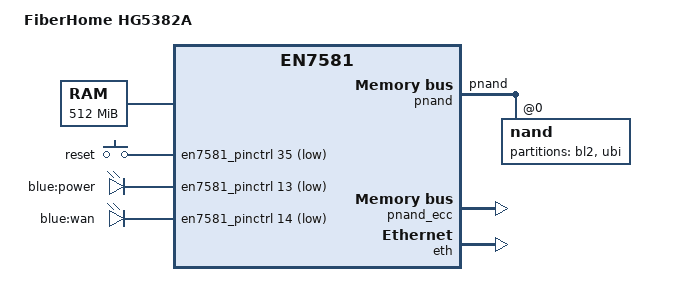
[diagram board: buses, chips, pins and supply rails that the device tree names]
// SPDX-License-Identifier: (GPL-2.0-only OR BSD-2-Clause)
/dts-v1/;

/* BL2 and TF-A reserve the first 2 MiB of DRAM. */
/memreserve/ 0x80000000 0x200000;

#include <dt-bindings/gpio/gpio.h>
#include <dt-bindings/input/input.h>
#include "en7581.dtsi"

/*
 * FiberHome HG5382A: AN7581 on parallel NAND, not SPI NAND.  The SNFI node
 * (spi@1fa10000) stays disabled as en7581.dtsi ships it -- its second reg
 * window is the same NFI block at 0x1fa11000, and a probed SNFI would switch
 * the NFI to serial mode under the parallel driver.
 */

/ {
	model = "FiberHome HG5382A";
	compatible = "fiberhome,hg5382a", "airoha,an7581", "airoha,en7581";

	aliases {
		serial0 = &uart1;
	};

	chosen {
		stdout-path = "serial0:115200n8";
	};

	options {
		u-boot {
			compatible = "u-boot,config";
			httpd-chase-leds = <&led_power &led_wan>;
		};
	};

	/* 512 MiB fallback; dram_init() probes and fixups the real size. */
	memory@80000000 {
		device_type = "memory";
		reg = <0x0 0x80000000 0x0 0x20000000>;
	};

	keys {
		compatible = "gpio-keys";

		key-reset {
			label = "reset";
			linux,code = <KEY_RESTART>;
			gpios = <&en7581_pinctrl 35 GPIO_ACTIVE_LOW>;
		};
	};

	leds {
		compatible = "gpio-leds";

		led_power: led-power {
			label = "blue:power";
			gpios = <&en7581_pinctrl 13 GPIO_ACTIVE_LOW>;
		};

		led_wan: led-wan {
			label = "blue:wan";
			gpios = <&en7581_pinctrl 14 GPIO_ACTIVE_LOW>;
		};
	};
};

&en7581_pinctrl {
	gpio-ranges = <&en7581_pinctrl 0 13 50>;

	/* Pins 4-7 and 30-42 (GPIO17-29) go to the parallel bus. */
	pnand_pins: pnand-pins {
		mux {
			function = "pnand";
			groups = "pnand";
		};
	};
};

&{/soc} {
	/*
	 * The driver takes its register bases from constants, not from reg;
	 * reg is kept for documentation.  The ECC node below has no U-Boot
	 * driver and is only described for completeness.
	 */
	pnand: nand-controller@1fa11000 {
		compatible = "airoha,en7581-nfc";
		reg = <0x0 0x1fa11000 0x0 0x600>;
		/* NFI runs off the bus clock; its ACCCON timing assumes it. */
		clocks = <&scuclk EN7523_CLK_BUS>;
		clock-names = "nfi_clk";
		pinctrl-names = "default";
		pinctrl-0 = <&pnand_pins>;
		nand-ecc-engine = <&pnand_ecc>;

		#address-cells = <1>;
		#size-cells = <0>;

		nand@0 {
			reg = <0>;
			nand-bus-width = <8>;
			nand-ecc-mode = "hw_syndrome";

			partitions {
				compatible = "fixed-partitions";
				#address-cells = <1>;
				#size-cells = <1>;

				/* The BootROM reads the BL2 FIP at 0x800. */
				partition@0 {
					label = "bl2";
					reg = <0x0 0x20000>;
				};

				/*
				 * Size 0 is MTDPART_SIZ_FULL to U-Boot's OF
				 * parser: the rest of the chip, whatever size
				 * part is fitted.
				 */
				partition@20000 {
					label = "ubi";
					reg = <0x20000 0x0>;
				};
			};
		};
	};

	pnand_ecc: ecc@1fa12000 {
		compatible = "airoha,en7581-nand-ecc";
		reg = <0x0 0x1fa12000 0x0 0x400>;
	};
};

&eth {
	status = "okay";
};
